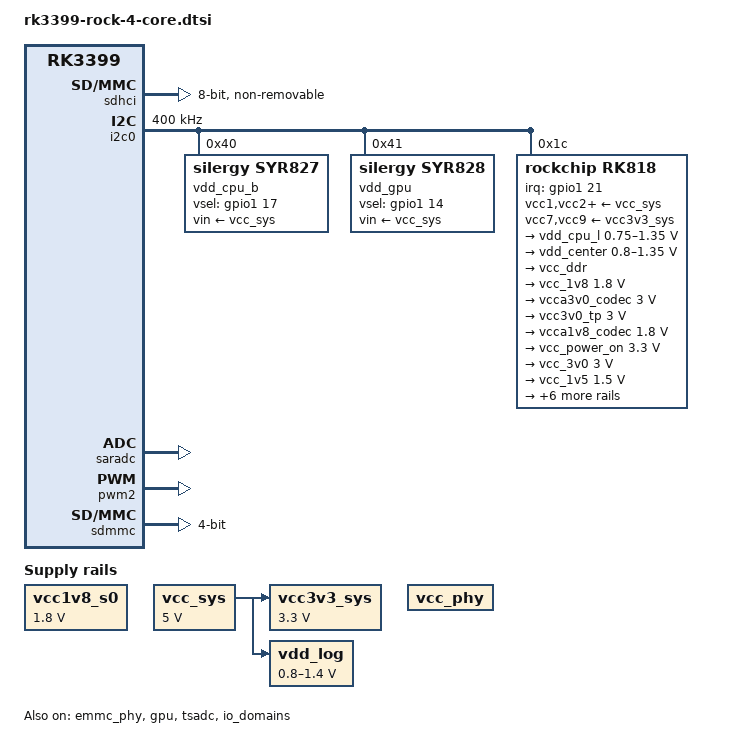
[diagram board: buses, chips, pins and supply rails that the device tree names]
/*
 * Copyright (c) 2016 Fuzhou Rockchip Electronics Co., Ltd
 *
 * This file is dual-licensed: you can use it either under the terms
 * of the GPL or the X11 license, at your option. Note that this dual
 * licensing only applies to this file, and not this project as a
 * whole.
 *
 *  a) This file is free software; you can redistribute it and/or
 *     modify it under the terms of the GNU General Public License as
 *     published by the Free Software Foundation; either version 2 of the
 *     License, or (at your option) any later version.
 *
 *     This file is distributed in the hope that it will be useful,
 *     but WITHOUT ANY WARRANTY; without even the implied warranty of
 *     MERCHANTABILITY or FITNESS FOR A PARTICULAR PURPOSE.  See the
 *     GNU General Public License for more details.
 *
 * Or, alternatively,
 *
 *  b) Permission is hereby granted, free of charge, to any person
 *     obtaining a copy of this software and associated documentation
 *     files (the "Software"), to deal in the Software without
 *     restriction, including without limitation the rights to use,
 *     copy, modify, merge, publish, distribute, sublicense, and/or
 *     sell copies of the Software, and to permit persons to whom the
 *     Software is furnished to do so, subject to the following
 *     conditions:
 *
 *     The above copyright notice and this permission notice shall be
 *     included in all copies or substantial portions of the Software.
 *
 *     THE SOFTWARE IS PROVIDED "AS IS", WITHOUT WARRANTY OF ANY KIND,
 *     EXPRESS OR IMPLIED, INCLUDING BUT NOT LIMITED TO THE WARRANTIES
 *     OF MERCHANTABILITY, FITNESS FOR A PARTICULAR PURPOSE AND
 *     NONINFRINGEMENT. IN NO EVENT SHALL THE AUTHORS OR COPYRIGHT
 *     HOLDERS BE LIABLE FOR ANY CLAIM, DAMAGES OR OTHER LIABILITY,
 *     WHETHER IN AN ACTION OF CONTRACT, TORT OR OTHERWISE, ARISING
 *     FROM, OUT OF OR IN CONNECTION WITH THE SOFTWARE OR THE USE OR
 *     OTHER DEALINGS IN THE SOFTWARE.
 */

/dts-v1/;
#include <dt-bindings/input/linux-event-codes.h>
#include <dt-bindings/pwm/pwm.h>
#include <dt-bindings/input/input.h>
#include "rk3399.dtsi"

/ {
	aliases {
		mmc0 = &sdmmc;
		mmc1 = &sdhci;
		mmc2 = &sdio0;
	};

	vcc1v8_s0: vcc1v8-s0 {
		compatible = "regulator-fixed";
		regulator-name = "vcc1v8_s0";
		regulator-min-microvolt = <1800000>;
		regulator-max-microvolt = <1800000>;
		regulator-always-on;
	};

	vcc_sys: vcc-sys {
		compatible = "regulator-fixed";
		regulator-name = "vcc_sys";
		regulator-min-microvolt = <5000000>;
		regulator-max-microvolt = <5000000>;
		regulator-always-on;
	};

	vcc_phy: vcc-phy-regulator {
		compatible = "regulator-fixed";
		regulator-name = "vcc_phy";
		regulator-always-on;
		regulator-boot-on;
	};

	vcc3v3_sys: vcc3v3-sys {
		compatible = "regulator-fixed";
		regulator-name = "vcc3v3_sys";
		regulator-min-microvolt = <3300000>;
		regulator-max-microvolt = <3300000>;
		regulator-always-on;
		vin-supply = <&vcc_sys>;
	};

	vdd_log: vdd-log {
		compatible = "pwm-regulator";
		pwms = <&pwm2 0 25000 1>;
		regulator-name = "vdd_log";
		regulator-min-microvolt = <800000>;
		regulator-max-microvolt = <1400000>;
		regulator-always-on;
		regulator-boot-on;

		/* for rockchip boot on */
		rockchip,pwm_id= <2>;
		rockchip,pwm_voltage = <900000>;

		vin-supply = <&vcc_sys>;
	};
};

&emmc_phy {
	status = "okay";
};

&sdhci {
	bus-width = <8>;
	mmc-hs400-1_8v;
	supports-emmc;
	non-removable;
	mmc-hs400-enhanced-strobe;
	status = "okay";
};

&i2c0 {
	status = "okay";
	i2c-scl-rising-time-ns = <168>;
	i2c-scl-falling-time-ns = <4>;
	clock-frequency = <400000>;

	vdd_cpu_b: syr827@40 {
		compatible = "silergy,syr827";
		reg = <0x40>;
		regulator-compatible = "fan53555-reg";
		pinctrl-names = "default";
		pinctrl-0 = <&vsel1_gpio>;
		vsel-gpios = <&gpio1 17 GPIO_ACTIVE_HIGH>;
		regulator-name = "vdd_cpu_b";
		regulator-min-microvolt = <712500>;
		regulator-max-microvolt = <1500000>;
		regulator-ramp-delay = <1000>;
		fcs,suspend-voltage-selector = <1>;
		regulator-always-on;
		regulator-boot-on;
		vin-supply = <&vcc_sys>;
		regulator-state-mem {
			regulator-off-in-suspend;
		};
	};

	vdd_gpu: syr828@41 {
		compatible = "silergy,syr828";
		reg = <0x41>;
		regulator-compatible = "fan53555-reg";
		pinctrl-names = "default";
		pinctrl-0 = <&vsel2_gpio>;
		vsel-gpios = <&gpio1 14 GPIO_ACTIVE_HIGH>;
		regulator-name = "vdd_gpu";
		regulator-min-microvolt = <712500>;
		regulator-max-microvolt = <1500000>;
		regulator-ramp-delay = <1000>;
		fcs,suspend-voltage-selector = <1>;
		regulator-always-on;
		regulator-boot-on;
		vin-supply = <&vcc_sys>;
		regulator-initial-mode = <1>; /* 1:force PWM 2:auto */
		regulator-state-mem {
			regulator-off-in-suspend;
		};
	};

	rk818: pmic@1c {
		compatible = "rockchip,rk818";
		status = "okay";
		reg = <0x1c>;
		clock-output-names = "rk818-clkout1", "wifibt_32kin";
		interrupt-parent = <&gpio1>;
		interrupts = <21 IRQ_TYPE_LEVEL_LOW>;
		extcon = <&fusb0>;
		pinctrl-names = "default";
		pinctrl-0 = <&pmic_int_l>;
		rockchip,system-power-controller;
		rk818,support_dc_chg = <1>;/*1: dc chg; 0:usb chg*/
		wakeup-source;
		#clock-cells = <1>;

		vcc1-supply = <&vcc_sys>;
		vcc2-supply = <&vcc_sys>;
		vcc3-supply = <&vcc_sys>;
		vcc4-supply = <&vcc_sys>;
		vcc6-supply = <&vcc_sys>;
		vcc7-supply = <&vcc3v3_sys>;
		vcc8-supply = <&vcc_sys>;
		vcc9-supply = <&vcc3v3_sys>;

		regulators {
			vdd_cpu_l: DCDC_REG1 {
				regulator-name = "vdd_cpu_l";
				regulator-always-on;
				regulator-boot-on;
				regulator-min-microvolt = <750000>;
				regulator-max-microvolt = <1350000>;
				regulator-ramp-delay = <6001>;
				regulator-state-mem {
					regulator-off-in-suspend;
				};
			};

			vdd_center: DCDC_REG2 {
				regulator-name = "vdd_center";
				regulator-always-on;
				regulator-boot-on;
				regulator-min-microvolt = <800000>;
				regulator-max-microvolt = <1350000>;
				regulator-ramp-delay = <6001>;
				regulator-state-mem {
					regulator-off-in-suspend;
				};
			};

			vcc_ddr: DCDC_REG3 {
				regulator-name = "vcc_ddr";
				regulator-always-on;
				regulator-boot-on;
				regulator-state-mem {
					regulator-on-in-suspend;
				};
			};

			vcc_1v8: DCDC_REG4 {
				regulator-name = "vcc_1v8";
				regulator-always-on;
				regulator-boot-on;
				regulator-min-microvolt = <1800000>;
				regulator-max-microvolt = <1800000>;
				regulator-state-mem {
					regulator-on-in-suspend;
					regulator-suspend-microvolt = <1800000>;
				};
			};

			vcca3v0_codec: LDO_REG1 {
				regulator-always-on;
				regulator-boot-on;
				regulator-min-microvolt = <3000000>;
				regulator-max-microvolt = <3000000>;
				regulator-name = "vcca3v0_codec";
				regulator-state-mem {
					regulator-off-in-suspend;
				};
			};

			vcc3v0_tp: LDO_REG2 {
				regulator-always-on;
				regulator-boot-on;
				regulator-min-microvolt = <3000000>;
				regulator-max-microvolt = <3000000>;
				regulator-name = "vcc3v0_tp";
				regulator-state-mem {
					regulator-off-in-suspend;
				};
			};

			vcca1v8_codec: LDO_REG3 {
				regulator-always-on;
				regulator-boot-on;
				regulator-min-microvolt = <1800000>;
				regulator-max-microvolt = <1800000>;
				regulator-name = "vcca1v8_codec";
				regulator-state-mem {
					regulator-off-in-suspend;
				};
			};

			vcc_power_on: LDO_REG4 {
				regulator-always-on;
				regulator-boot-on;
				regulator-min-microvolt = <3300000>;
				regulator-max-microvolt = <3300000>;
				regulator-name = "vcc_power_on";
				regulator-state-mem {
					regulator-on-in-suspend;
					regulator-suspend-microvolt = <3300000>;
				};
			};

			vcc_3v0: LDO_REG5 {
				regulator-always-on;
				regulator-boot-on;
				regulator-min-microvolt = <3000000>;
				regulator-max-microvolt = <3000000>;
				regulator-name = "vcc_3v0";
				regulator-state-mem {
					regulator-on-in-suspend;
					regulator-suspend-microvolt = <3000000>;
				};
			};

			vcc_1v5: LDO_REG6 {
				regulator-always-on;
				regulator-boot-on;
				regulator-min-microvolt = <1500000>;
				regulator-max-microvolt = <1500000>;
				regulator-name = "vcc_1v5";
				regulator-state-mem {
					regulator-on-in-suspend;
					regulator-suspend-microvolt = <1500000>;
				};
			};

			vcc1v8_dvp: LDO_REG7 {
				regulator-always-on;
				regulator-boot-on;
				regulator-min-microvolt = <1800000>;
				regulator-max-microvolt = <1800000>;
				regulator-name = "vcc1v8_dvp";
				regulator-state-mem {
					regulator-off-in-suspend;
				};
			};

			vcc3v3_s3: LDO_REG8 {
				regulator-always-on;
				regulator-boot-on;
				regulator-min-microvolt = <3300000>;
				regulator-max-microvolt = <3300000>;
				regulator-name = "vcc3v3_s3";
				regulator-state-mem {
					regulator-off-in-suspend;
				};
			};

			vcc_sd: LDO_REG9 {
				regulator-always-on;
				regulator-boot-on;
				regulator-min-microvolt = <1800000>;
				regulator-max-microvolt = <3000000>;
				regulator-name = "vcc_sd";
				regulator-state-mem {
					regulator-on-in-suspend;
					regulator-suspend-microvolt = <3000000>;
				};
			};

			vcc3v3_s0: SWITCH_REG {
				regulator-always-on;
				regulator-boot-on;
				regulator-name = "vcc3v3_s0";
				regulator-state-mem {
					regulator-on-in-suspend;
				};
			};

			boost_otg: DCDC_BOOST {
				regulator-name = "boost_otg";
				regulator-always-on;
				regulator-boot-on;
				regulator-min-microvolt = <5000000>;
				regulator-max-microvolt = <5000000>;
				regulator-state-mem {
					regulator-on-in-suspend;
					regulator-suspend-microvolt = <5000000>;
				};
			};

			otg_switch: OTG_SWITCH {
				regulator-name = "otg_switch";
			};
		};

		battery {
			compatible = "rk818-battery";
			ocv_table = <3400 3675 3689 3716 3740 3756 3768 3780
				3793 3807 3827 3853 3896 3937 3974 4007 4066
				4110 4161 4217 4308>;
			design_capacity = <7916>;
			design_qmax = <8708>;
			bat_res = <65>;
			max_input_current = <3000>;
			max_chrg_current = <3000>;
			max_chrg_voltage = <4350>;
			sleep_enter_current = <300>;
			sleep_exit_current = <300>;
			power_off_thresd = <3400>;
			zero_algorithm_vol = <3950>;
			fb_temperature = <105>;
			sample_res = <20>;
			max_soc_offset = <60>;
			energy_mode = <0>;
			monitor_sec = <5>;
			virtual_power = <0>;
			power_dc2otg = <0>;
		};
	};
};

&i2c4 {
	status = "disabled";

	fusb0: fusb30x@22 {
		compatible = "fairchild,fusb302";
		reg = <0x22>;
		pinctrl-names = "default";
		pinctrl-0 = <&fusb0_int>;
		int-n-gpios = <&gpio1 RK_PA2 GPIO_ACTIVE_HIGH>;
		vbus-5v-gpios = <&gpio2 RK_PB2 GPIO_ACTIVE_HIGH>;
		status = "disabled";
	};
};

&cpu_l0 {
	cpu-supply = <&vdd_cpu_l>;
};

&cpu_l1 {
	cpu-supply = <&vdd_cpu_l>;
};

&cpu_l2 {
	cpu-supply = <&vdd_cpu_l>;
};

&cpu_l3 {
	cpu-supply = <&vdd_cpu_l>;
};

&cpu_b0 {
	cpu-supply = <&vdd_cpu_b>;
};

&cpu_b1 {
	cpu-supply = <&vdd_cpu_b>;
};

&gpu {
	status = "okay";
	mali-supply = <&vdd_gpu>;
};

&tsadc {
	status = "okay";
	/* tshut mode 0:CRU 1:GPIO */
	rockchip,hw-tshut-mode = <1>;
	/* tshut polarity 0:LOW 1:HIGH */
	rockchip,hw-tshut-polarity = <1>;
	rockchip,hw-tshut-temp = <110000>;
};

&saradc {
	status = "okay";
};

&pwm2 {
	status = "okay";
};

&io_domains {
	status = "okay";

	bt656-supply = <&vcc_3v0>; /* bt656_gpio2ab_ms */
	audio-supply = <&vcc_1v8>; /* audio_gpio3d4a_ms */
	sdmmc-supply = <&vcc_sd>; /* sdmmc_gpio4b_ms */
	gpio1830-supply = <&vcc_3v0>; /* gpio1833_gpio4cd_ms */
};

&spi1 {
	status = "disabled";
	max-freq = <10000000>;

	spiflash: spi-flash@0 {
		#address-cells = <0x1>;
		#size-cells = <1>;
		compatible = "jedec,spi-nor";
		reg = <0x0>;
		status = "disabled";
		spi-max-frequency = <10000000>;

		partitions {
			compatible = "fixed-partitions";
			#address-cells = <1>;
			#size-cells = <1>;

			loader@0 {
				label = "loader";
				reg = <0x0 0x400000>;
			};
		};
	};
};

&pinctrl {
	pmic {
		pmic_int_l: pmic-int-l {
			rockchip,pins =
				<1 RK_PC5 RK_FUNC_GPIO &pcfg_pull_up>;
		};

		vsel1_gpio: vsel1-gpio {
			rockchip,pins =
				<1 17 RK_FUNC_GPIO &pcfg_pull_down>;
		};

		vsel2_gpio: vsel2-gpio {
			rockchip,pins =
				<1 14 RK_FUNC_GPIO &pcfg_pull_down>;
		};
	};

	fusb30x {
		fusb0_int: fusb0-int {
			rockchip,pins = <1 RK_PA2 RK_FUNC_GPIO &pcfg_pull_up>;
		};
	};
};

&pmu_io_domains {
	status = "okay";
	pmu1830-supply = <&vcc_1v8>;
};

&sdmmc {
	clock-frequency = <150000000>;
	clock-freq-min-max = <100000 150000000>;
	no-sdio;
	no-mmc;
	bus-width = <4>;
	cap-mmc-highspeed;
	cap-sd-highspeed;
	disable-wp;
	sd-uhs-sdr104;
	num-slots = <1>;
	pinctrl-names = "default";
	pinctrl-0 = <&sdmmc_clk &sdmmc_cd &sdmmc_cmd &sdmmc_bus4>;
	vqmmc-supply = <&vcc_sd>;
	status = "okay";
};

&sdhci {
	max-frequency = <150000000>;
	bus-width = <8>;
	mmc-hs400-1_8v;
	mmc-hs400-enhanced-strobe;
	non-removable;
	status = "okay";
};
